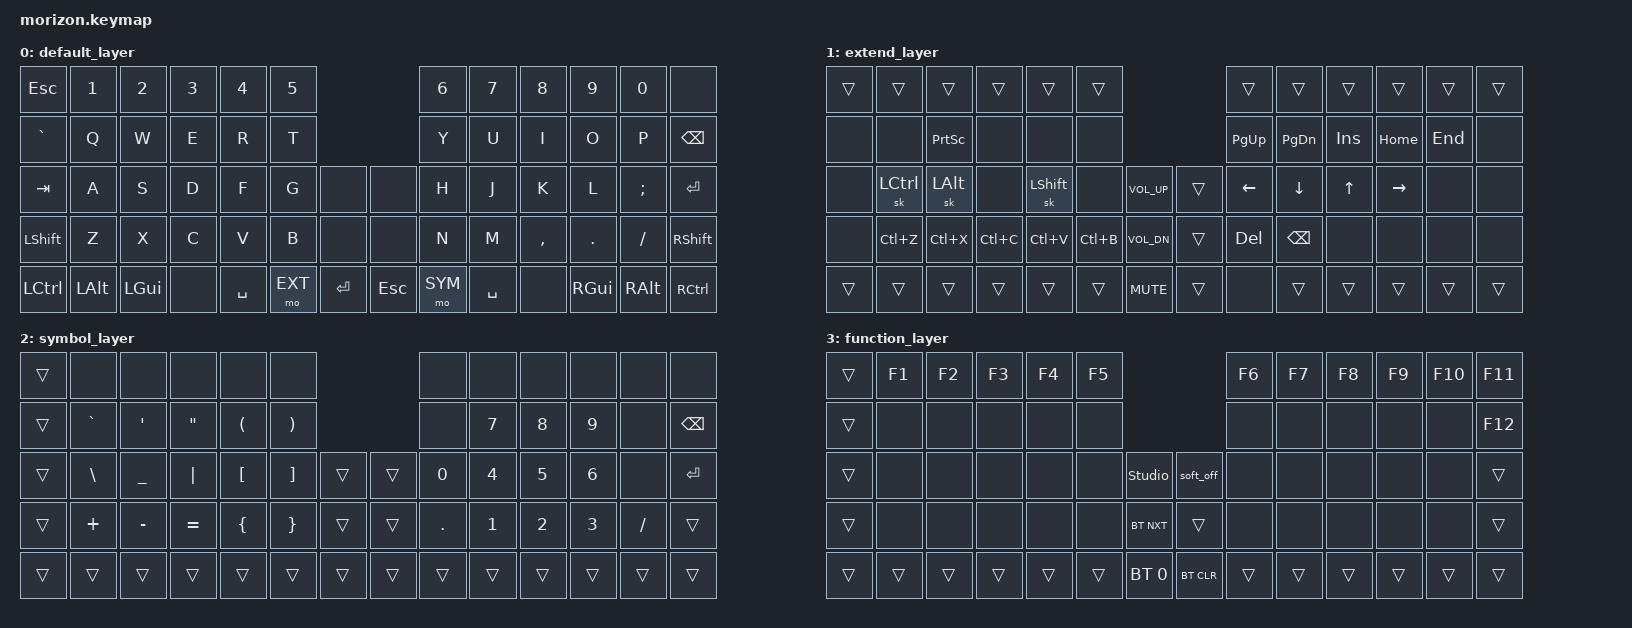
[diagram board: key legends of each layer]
/*
 * Copyright (c) 2022 The ZMK Contributors
 *
 * SPDX-License-Identifier: MIT
 */

#include <behaviors.dtsi>
#include <dt-bindings/zmk/keys.h>
#include <dt-bindings/zmk/bt.h>

#define DEF 0
#define EXT 1
#define SYM 2
#define FUNC 3

&lt {
    tapping-term-ms = <180>;
    flavor = "tap-preferred";
};

 / {
	combos {
		compatible = "zmk,combos";
		// both thumb keys
		combo_function {
			timeout-ms = <200>;
			key-positions = <57 60>;
			bindings = <&mo FUNC>;
		};
	};

    keymap {
        compatible = "zmk,keymap";

        default_layer {
            bindings = <
                &kp ESC     &kp N1     &kp N2     &kp N3     &kp N4     &kp N5                             &kp N6     &kp N7     &kp N8     &kp N9     &kp N0     &none
                &kp GRAVE   &kp Q      &kp W      &kp E      &kp R      &kp T                              &kp Y      &kp U      &kp I      &kp O      &kp P      &kp BSPC
                &kp TAB     &kp A      &kp S      &kp D      &kp F      &kp G        &none      &none      &kp H      &kp J      &kp K      &kp L      &kp SEMI   &kp ENTER
                &kp LSHFT   &kp Z      &kp X      &kp C      &kp V      &kp B        &none      &none      &kp N      &kp M      &kp COMMA  &kp DOT    &kp SLASH  &kp RSHFT
                &kp LCTRL   &kp LALT   &kp LGUI   &none      &kp SPACE  &mo EXT      &kp ENTER  &kp ESC    &mo SYM    &kp SPACE  &none      &kp RGUI   &kp RALT   &kp RCTRL
            >;
        };

        extend_layer {
            bindings = <
                &trans      &trans    &trans    &trans    &trans     &trans                               &trans     &trans     &trans     &trans     &trans    &trans
                &none       &none     &kp PSCRN &none     &none      &none                                &kp PG_UP  &kp PG_DN  &kp INS    &kp HOME   &kp END   &none 
                &none       &sk LCTRL &sk LALT  &none     &sk LSHIFT &none        &kp C_VOL_UP &trans     &kp LEFT   &kp DOWN   &kp UP     &kp RIGHT  &none     &none
                &none       &kp LC(Z) &kp LC(X) &kp LC(C) &kp LC(V)  &kp LC(B)    &kp C_VOL_DN &trans     &kp DEL    &kp BSPC   &none      &none      &none     &none
                &trans      &trans    &trans    &trans    &trans     &trans       &kp C_MUTE   &trans     &none      &trans     &trans     &trans     &trans    &trans
            >;
        };

        symbol_layer {
            bindings = <
                &trans     &none      &none      &none      &none      &none                                   &none     &none    &none     &none     &none     &none 
                &trans     &kp GRAVE  &kp SQT    &kp DQT    &kp LPAR   &kp RPAR                                &none     &kp N7   &kp N8    &kp N9    &none     &kp BSPC 
                &trans     &kp BSLH   &kp UNDER  &kp PIPE   &kp LBKT   &kp RBKT      &trans         &trans     &kp N0    &kp N4   &kp N5    &kp N6    &none     &kp ENTER
                &trans     &kp PLUS   &kp MINUS  &kp EQUAL  &kp LBRC   &kp RBRC      &trans         &trans     &kp DOT   &kp N1   &kp N2    &kp N3    &kp FSLH  &trans
                &trans     &trans     &trans     &trans     &trans     &trans        &trans         &trans     &trans    &trans   &trans    &trans    &trans    &trans
            >;
        };

        function_layer {
            bindings = <
                &trans     &kp F1     &kp F2     &kp F3     &kp F4     &kp F5                                  &kp F6    &kp F7   &kp F8    &kp F9    &kp F10   &kp F11
                &trans     &none      &none      &none      &none      &none                                   &none     &none    &none     &none     &none     &kp F12
                &trans     &none      &none      &none      &none      &none        &studio_unlock &soft_off   &none     &none    &none     &none     &none     &trans
                &trans     &none      &none      &none      &none      &none        &bt BT_NXT     &trans      &none     &none    &none     &none     &none     &trans
                &trans     &trans     &trans     &trans     &trans     &trans       &bt BT_SEL 0   &bt BT_CLR  &trans    &trans   &trans    &trans    &trans    &trans
            >;
        };
    };
};
